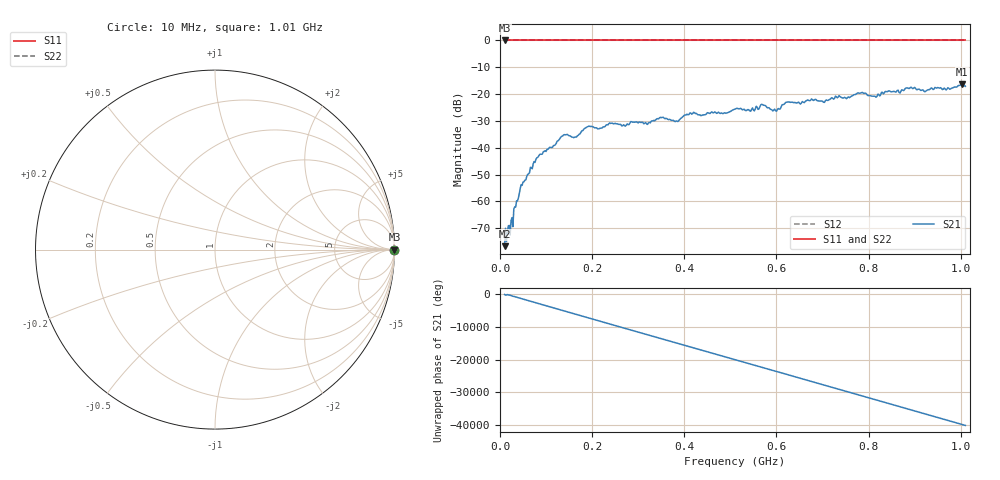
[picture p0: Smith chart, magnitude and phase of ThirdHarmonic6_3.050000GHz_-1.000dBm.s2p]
! 8/17/2025 8:51:33 AM
! C:\ANRITSUVNA\TEMP\TEMP.S2P
! CHANNEL.1
! TR.MEASUREMENT
! RAW.DATA
! RF.CORRECTION.OFF
! AVERAGING.OFF
! IF.BANDWIDTH: 5KHZ
! SWEEPTYPE:  FREQ.SWEEP(Linear)
! Reference Plane Port Info
! PORT:  PORT1  PORT2
! DISTANCE:  0  m  0  m
! TIME:  0  s  0  s
! PHASE.OFFSET:  0  deg.  0  deg.
! LOSS:  0  dB  0  dB
! REF.LOSS:  0  dB  0  dB
! REF.FREQ:  0  Hz  0  Hz
! Power Info
! POWER:  -20  dBm  -20  dBm
! EFF.POWER:  -20  dBm  -20  dBm
! SOURCE.ATTEN:  0  dB  0  dB
! TEST.ATTEN:  0  dB  0  dB
# GHZ S RI R 50.0
! FREQ.GHZ  S11RE  S11IM  S21RE  S21IM  S12RE  S12IM  S22RE  S22IM
!; PortSelection: Port_12
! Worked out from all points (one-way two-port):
!   501 points, 10 MHz to 1.01 GHz, reference 50 ohm
!   highest |S21| = -16.37 dB at 1.002 GHz (marker M1); lowest = -76.7 dB at 10 MHz (marker M2)
!   lowest |S11| = 0.0 dB at 10 MHz (marker M3)
!   |S11| at or under -10 dB: nowhere
!   |S22| runs from 0.0 to 0.0 dB; largest |S21 - S12| = 1.1
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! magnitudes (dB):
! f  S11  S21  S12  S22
! 10 MHz  0.0  -76.7  0.0  0.0
! 16 MHz  0.0  -71.5  0.0  0.0
! 24 MHz  0.0  -67.1  0.0  0.0
! 46 MHz  0.0  -53.7  0.0  0.0
! 82 MHz  0.0  -43.6  0.0  0.0
! 136 MHz  0.0  -35.6  0.0  0.0
! 162 MHz  0.0  -36.1  0.0  0.0
! 178 MHz  0.0  -33.7  0.0  0.0
! 344 MHz  0.0  -29.3  0.0  0.0
! 382 MHz  0.0  -30.0  0.0  0.0
! 416 MHz  0.0  -27.5  0.0  0.0
! 510 MHz  0.0  -25.6  0.0  0.0
! 548 MHz  0.0  -25.2  0.0  0.0
! 570 MHz  0.0  -24.0  0.0  0.0
! 596 MHz  0.0  -25.6  0.0  0.0
! 624 MHz  0.0  -23.0  0.0  0.0
! 678 MHz  0.0  -22.0  0.0  0.0
! 782 MHz  0.0  -19.6  0.0  0.0
! 814 MHz  0.0  -20.8  0.0  0.0
! 844 MHz  0.0  -18.8  0.0  0.0
! 1.002 GHz  0.0  -16.4  0.0  0.0
! 1.01 GHz  0.0  -17.1  0.0  0.0
